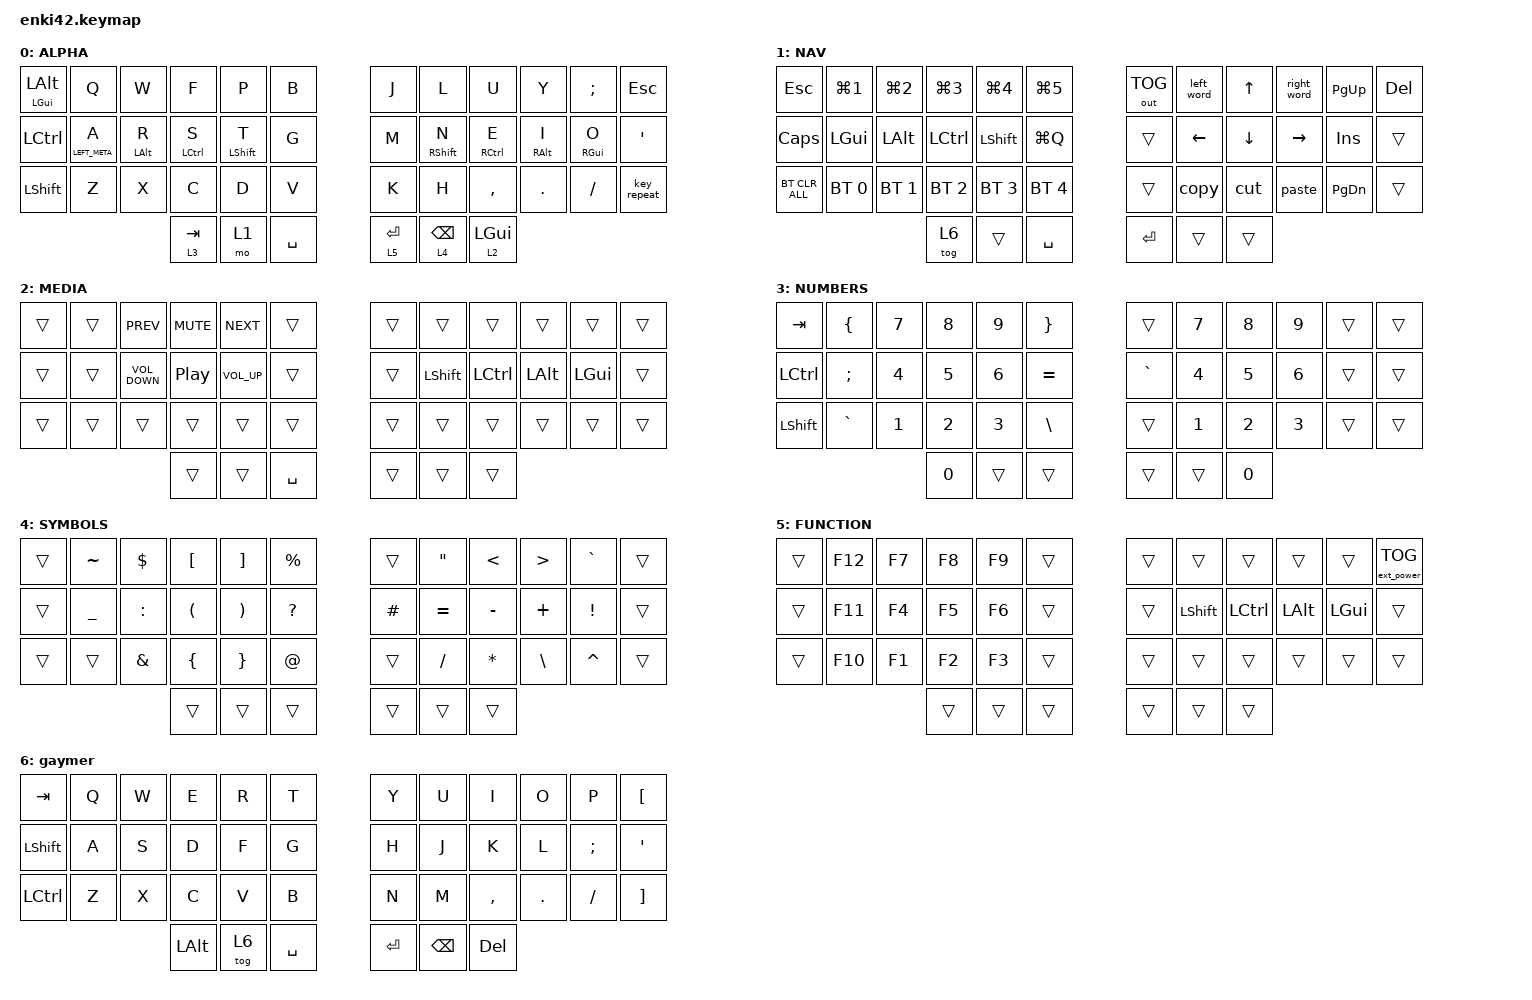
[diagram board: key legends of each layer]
/*
 * Copyright (c) 2020 The ZMK Contributors
 *
 * SPDX-License-Identifier: MIT
 */

#include <behaviors.dtsi>
#include <dt-bindings/zmk/bt.h>
#include <dt-bindings/zmk/ext_power.h>
#include <dt-bindings/zmk/keys.h>
#include <dt-bindings/zmk/outputs.h>

/ {
    behaviors {
        hml: homerow_mods_left {
            compatible = "zmk,behavior-hold-tap";
            label = "HOMEROW_MODS_LEFT_HAND";
            bindings = <&kp>, <&kp>;

            #binding-cells = <2>;
            tapping-term-ms = <280>;
            hold-trigger-key-positions = <6 18 30 39 40 7 8 9 10 11 19 20 21 22 23 31 32 33 34 35 41>;
            quick-tap-ms = <175>;
            require-prior-idle-ms = <150>;
            flavor = "tap-preferred";
        };

        hmr: homerow_mods_right {
            compatible = "zmk,behavior-hold-tap";
            label = "HOMEROW_MODS_RIGHT_HAND";
            bindings = <&kp>, <&kp>;

            #binding-cells = <2>;
            tapping-term-ms = <280>;
            hold-trigger-key-positions = <0 1 2 3 4 5 12 13 14 15 16 17 24 25 26 27 28 29 36 37 38>;
            quick-tap-ms = <175>;
            require-prior-idle-ms = <150>;
            flavor = "tap-preferred";
        };
    };

    combos {
        compatible = "zmk,combos";

        Copy {
            bindings = <&kp LC(INSERT)>;
            key-positions = <3 4 2>;
            layers = <0>;
        };

        Paste {
            bindings = <&kp LS(INS)>;
            key-positions = <14 15 16>;
            layers = <0>;
        };

        Cut {
            bindings = <&kp LS(DELETE)>;
            key-positions = <26 28 27>;
            layers = <0>;
        };

        prog-parenthesis {
            bindings = <&par>;
            key-positions = <7 8>;
            layers = <0>;
        };

        prog-braces {
            bindings = <&brackets>;
            key-positions = <20 19>;
            layers = <0>;
        };

        prog-less {
            bindings = <&kp LT>;
            key-positions = <32 19>;
            layers = <0>;
        };

        prog-return {
            bindings = <&kp COLON>;
            key-positions = <19 21 20>;
            layers = <0>;
        };

        prog-equals {
            bindings = <&kp EQUAL>;
            key-positions = <7 8 9>;
            layers = <0>;
        };

        huh {
            bindings = <&kp QUESTION>;
            key-positions = <14 15 4>;
        };

        chin {
            bindings = <&kp EXCLAMATION>;
            key-positions = <25 26 3>;
        };

        minus {
            bindings = <&kp MINUS>;
            key-positions = <19 18>;
        };

        under {
            bindings = <&kp UNDER>;
            key-positions = <31 30>;
        };

        prog-bracket {
            bindings = <&kp LBKT>;
            key-positions = <8 19>;
        };
    };

    macros {
        par: WIN_DESK_LEFT {
            compatible = "zmk,behavior-macro";
            #binding-cells = <0>;
            bindings = <&kp LEFT_PARENTHESIS &kp RIGHT_PARENTHESIS &kp LEFT>;
            label = "WIN_DESK_LEFT";
        };

        brackets: WIN_DESK_RIGHT {
            compatible = "zmk,behavior-macro";
            #binding-cells = <0>;
            bindings = <&kp LEFT_BRACE &kp RIGHT_BRACE &kp LEFT>;
            label = "WIN_DESK_RIGHT";
        };

        cut: cut {
            compatible = "zmk,behavior-macro";
            #binding-cells = <0>;
            bindings = <&kp LS(DEL)>;
            label = "CUT";
        };

        copy: copy {
            compatible = "zmk,behavior-macro";
            #binding-cells = <0>;
            bindings = <&kp LC(INS)>;
            label = "COPY";
        };

        paste: paste {
            compatible = "zmk,behavior-macro";
            #binding-cells = <0>;
            bindings = <&kp LS(INS)>;
            label = "PASTE";
        };

        enie_mac: enie_mac {
            compatible = "zmk,behavior-macro";
            #binding-cells = <0>;
            bindings = <&kp LA(N) &kp N &kp N>;
            label = "ENIE_MAC";
        };

        left_word: left_word {
            compatible = "zmk,behavior-macro";
            #binding-cells = <0>;
            bindings = <&kp LC(LEFT)>;
            label = "LEFT_WORD";
        };

        right_word: right_word {
            compatible = "zmk,behavior-macro";
            #binding-cells = <0>;
            bindings = <&kp LC(RIGHT)>;
            label = "RIGHT_WORD";
        };
    };

    keymap {
        compatible = "zmk,keymap";

        alpha {
            display-name = "ALPHA";

            // -----------------------------------------------------------------------------------------
            // |  TAB |  Q  |  W  |  E  |  R  |  T  |   |  Y  |  U   |  I  |  O  |  P  | BKSP |
            // | CTRL |  A  |  S  |  D  |  F  |  G  |   |  H  |  J   |  K  |  L  |  ;  |  '   |
            // | SHFT |  Z  |  X  |  C  |  V  |  B  |   |  N  |  M   |  ,  |  .  |  /  | ESC  |
            //                    | GUI | LWR | SPC |   | ENT | RSE  | ALT |

            bindings = <
&mt LEFT_GUI LEFT_ALT  &kp Q             &kp W        &kp F                &kp P              &kp B        &kp J        &kp L               &kp U                 &kp Y             &kp SEMICOLON     &kp ESCAPE
&kp LCTRL              &hml LEFT_META A  &hml LALT R  &hml LEFT_CONTROL S  &hml LEFT_SHIFT T  &kp G        &kp M        &hmr RIGHT_SHIFT N  &hmr RIGHT_CONTROL E  &hmr RIGHT_ALT I  &hmr RIGHT_GUI O  &kp SQT
&kp LSHFT              &kp Z             &kp X        &kp C                &kp D              &kp V        &kp K        &kp H               &kp COMMA             &kp DOT           &kp FSLH          &key_repeat
                                                      &lt 3 TAB            &mo 1              &kp SPACE    &lt 5 ENTER  &lt 4 BACKSPACE     &lt 2 LEFT_GUI
            >;
        };

        nav {
            display-name = "NAV";

            // -----------------------------------------------------------------------------------------
            // |  TAB |  1  |  2  |  3  |  4  |  5  |   |  6  |  7  |  8  |  9  |  0  | BKSP |
            // | BTCLR| BT1 | BT2 | BT3 | BT4 | BT5 |   | LFT | DWN |  UP | RGT |     |      |
            // | SHFT |     |     |     |     |     |   |     |     |     |     |     |      |
            //                    | GUI |     | SPC |   | ENT |     | ALT |

            bindings = <
&kp ESCAPE      &kp LG(NUMBER_1)  &kp LG(NUMBER_2)  &kp LG(NUMBER_3)  &kp LG(NUMBER_4)  &kp LG(N5)      &out OUT_TOG  &left_word      &kp UP    &right_word  &kp PAGE_UP    &kp DELETE
&kp CAPS        &kp LEFT_GUI      &kp LEFT_ALT      &kp LCTRL         &kp LEFT_SHIFT    &kp LG(Q)       &trans        &kp LEFT_ARROW  &kp DOWN  &kp RIGHT    &kp INS        &trans
&bt BT_CLR_ALL  &bt BT_SEL 0      &bt BT_SEL 1      &bt BT_SEL 2      &bt BT_SEL 3      &bt BT_SEL 4    &trans        &copy           &cut      &paste       &kp PAGE_DOWN  &trans
                                                    &tog 6            &trans            &kp SPACE       &kp RET       &trans          &trans
            >;
        };

        media {
            display-name = "MEDIA";

            // -----------------------------------------------------------------------------------------
            // |  TAB |  !  |  @  |  #  |  $  |  %  |   |  ^  |  &  |  *  |  (  |  )  | BKSP |
            // | CTRL |     |     |     |     |     |   |  -  |  =  |  [  |  ]  |  \  |  `   |
            // | SHFT |     |     |     |     |     |   |  _  |  +  |  {  |  }  | "|" |  ~   |
            //                    | GUI |     | SPC |   | ENT |     | ALT |

            bindings = <
&trans  &trans  &kp C_PREV         &kp C_MUTE        &kp C_NEXT       &trans       &trans  &trans          &trans            &trans        &trans        &trans
&trans  &trans  &kp C_VOLUME_DOWN  &kp C_PLAY_PAUSE  &kp C_VOLUME_UP  &trans       &trans  &kp LEFT_SHIFT  &kp LEFT_CONTROL  &kp LEFT_ALT  &kp LEFT_GUI  &trans
&trans  &trans  &trans             &trans            &trans           &trans       &trans  &trans          &trans            &trans        &trans        &trans
                                   &trans            &trans           &kp SPACE    &trans  &trans          &trans
            >;
        };

        num {
            display-name = "NUMBERS";
            bindings = <
&kp TAB    &kp LEFT_BRACE  &kp N7        &kp N8        &kp N9        &kp RIGHT_BRACE    &trans     &kp N7        &kp N8        &kp N9        &trans  &trans
&kp LCTRL  &kp SEMICOLON   &kp NUMBER_4  &kp N5        &kp NUMBER_6  &kp EQUAL          &kp GRAVE  &kp NUMBER_4  &kp N5        &kp NUMBER_6  &trans  &trans
&kp LSHFT  &kp GRAVE       &kp NUMBER_1  &kp NUMBER_2  &kp NUMBER_3  &kp BACKSLASH      &trans     &kp NUMBER_1  &kp NUMBER_2  &kp NUMBER_3  &trans  &trans
                                         &kp N0        &trans        &trans             &trans     &trans        &kp N0
            >;
        };

        sym {
            display-name = "SYMBOLS";
            bindings = <
&trans  &kp TILDE  &kp DOLLAR     &kp LEFT_BRACKET      &kp RIGHT_BRACKET      &kp PERCENT     &trans    &kp DOUBLE_QUOTES  &kp LESS_THAN  &kp GREATER_THAN  &kp GRAVE        &trans
&trans  &kp UNDER  &kp COLON      &kp LEFT_PARENTHESIS  &kp RIGHT_PARENTHESIS  &kp QUESTION    &kp HASH  &kp EQUAL          &kp MINUS      &kp PLUS          &kp EXCLAMATION  &trans
&trans  &trans     &kp AMPERSAND  &kp LEFT_BRACE        &kp RIGHT_BRACE        &kp AT_SIGN     &trans    &kp SLASH          &kp ASTERISK   &kp BACKSLASH     &kp CARET        &trans
                                  &trans                &trans                 &trans          &trans    &trans             &trans
            >;
        };

        fun {
            display-name = "FUNCTION";
            bindings = <
&trans  &kp F12  &kp F7  &kp F8  &kp F9  &trans    &trans  &trans          &trans     &trans        &trans        &ext_power EP_TOG
&trans  &kp F11  &kp F4  &kp F5  &kp F6  &trans    &trans  &kp LEFT_SHIFT  &kp LCTRL  &kp LEFT_ALT  &kp LEFT_GUI  &trans
&trans  &kp F10  &kp F1  &kp F2  &kp F3  &trans    &trans  &trans          &trans     &trans        &trans        &trans
                         &trans  &trans  &trans    &trans  &trans          &trans
            >;
        };

        gaymer {
            bindings = <
&kp TAB    &kp Q  &kp W  &kp E     &kp R   &kp T        &kp Y      &kp U     &kp I      &kp O    &kp P     &kp LBKT
&kp LSHFT  &kp A  &kp S  &kp D     &kp F   &kp G        &kp H      &kp J     &kp K      &kp L    &kp SEMI  &kp APOS
&kp LCTRL  &kp Z  &kp X  &kp C     &kp V   &kp B        &kp N      &kp M     &kp COMMA  &kp DOT  &kp FSLH  &kp RBKT
                         &kp LALT  &tog 6  &kp SPACE    &kp ENTER  &kp BSPC  &kp DEL
            >;
        };
    };
};
